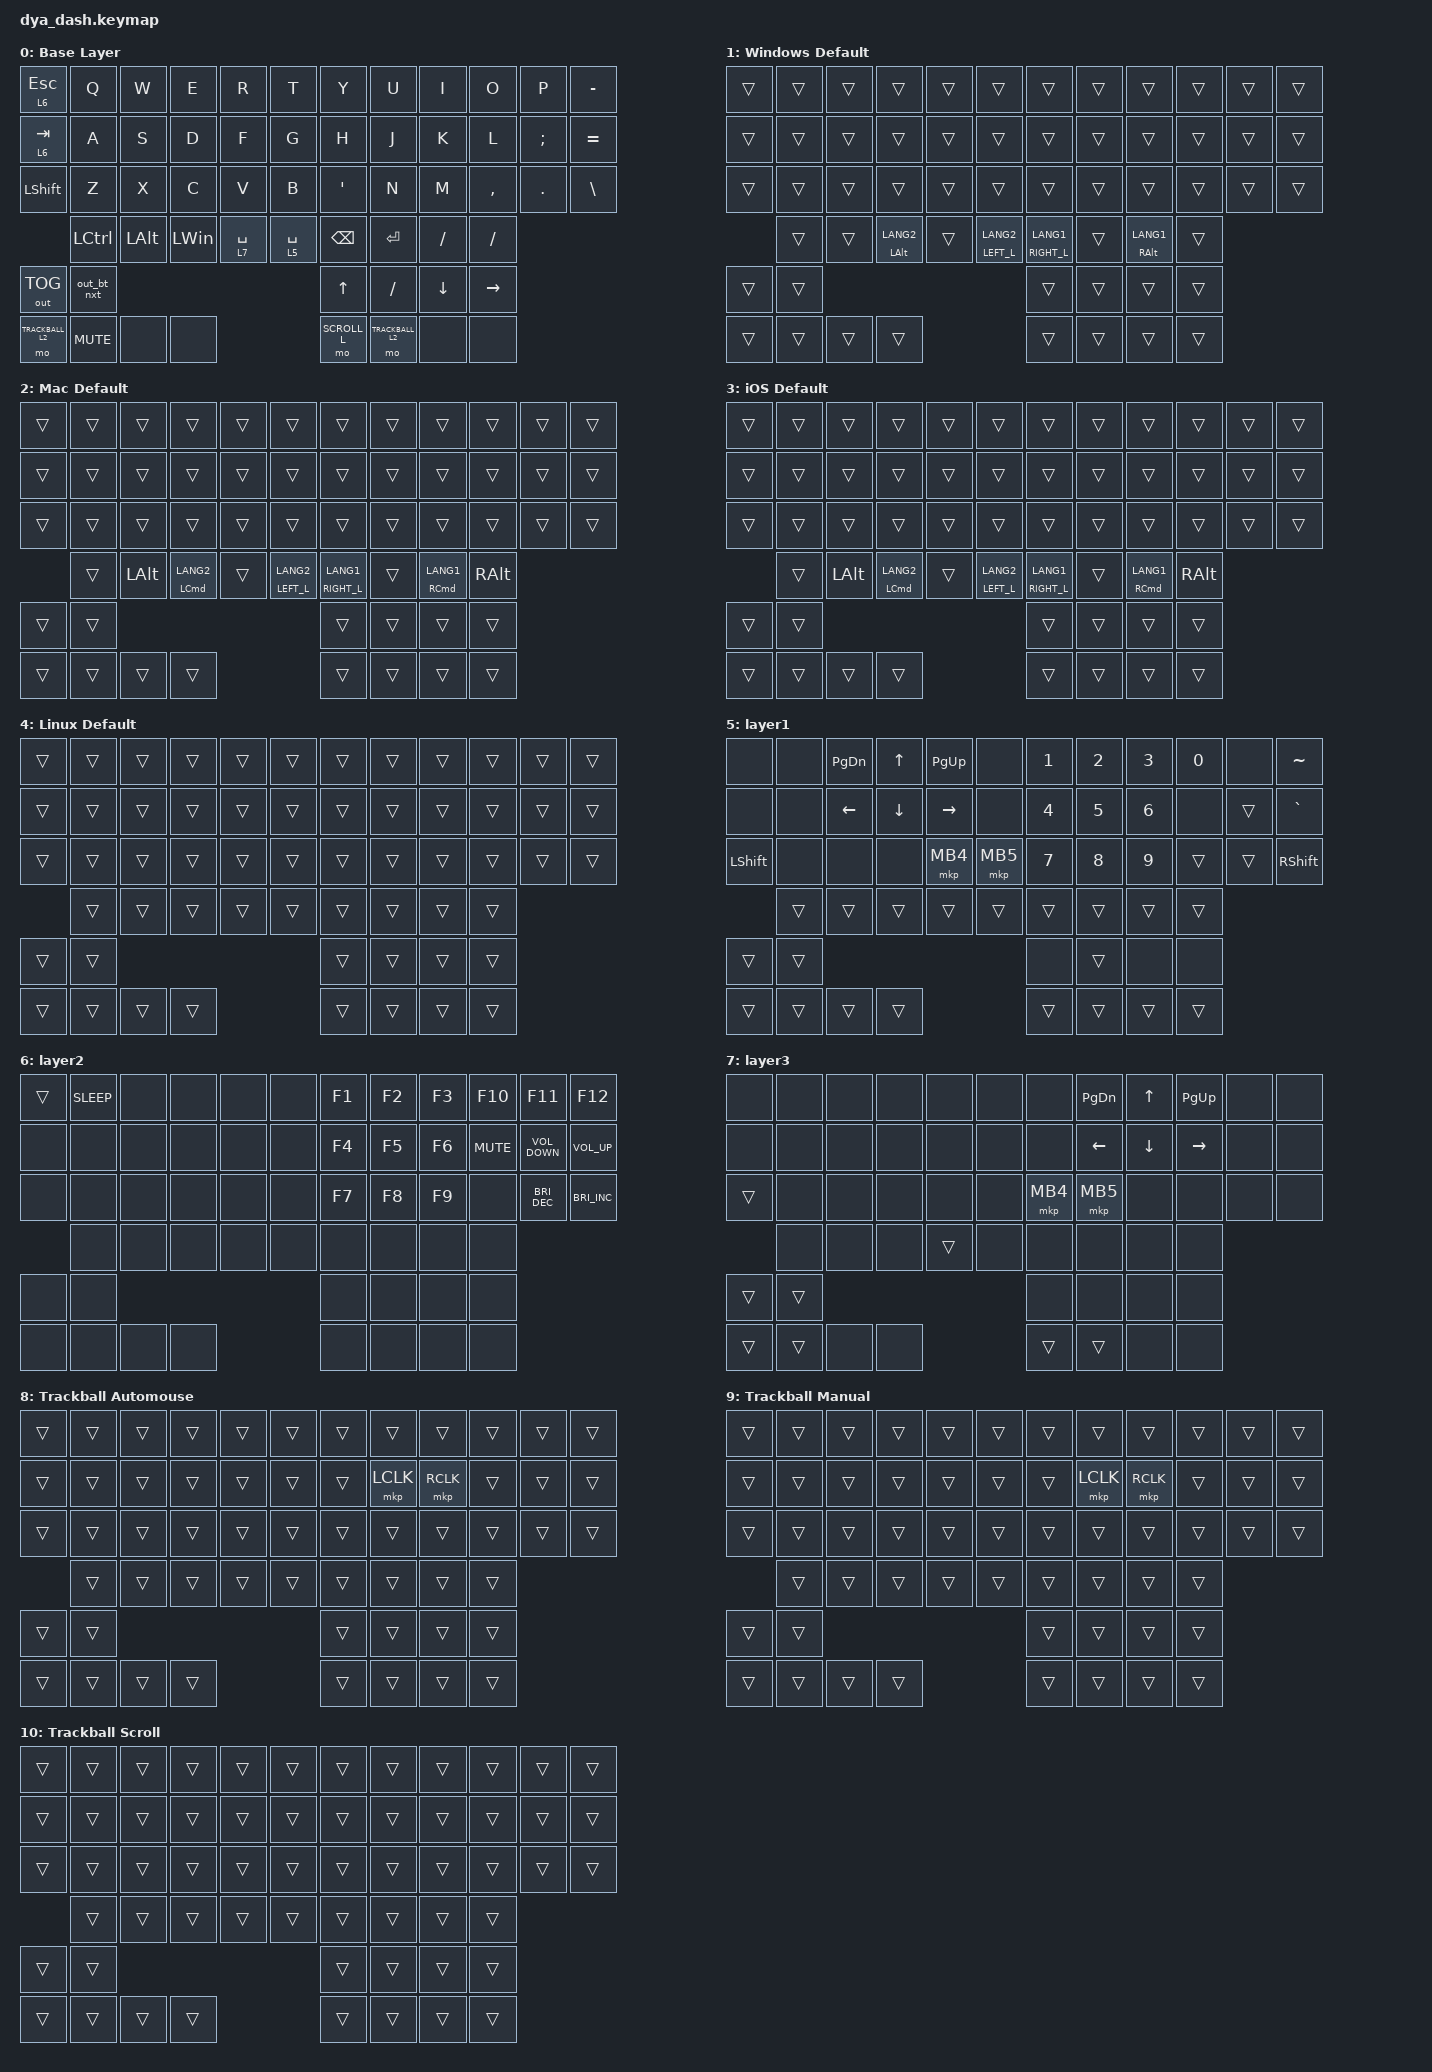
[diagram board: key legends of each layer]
#include <behaviors/mouse_move.dtsi>
#include <behaviors/animation_control.dtsi>
#include <behaviors/animation_trigger.dtsi>
#include <dt-bindings/zmk/mouse.h>
#include <dt-bindings/zmk_driver_animation/animation_control.h>
#include <dt-bindings/zmk_driver_animation/animation_trigger.h>
#include <dt-bindings/zmk_behavior_default_layer/default_layer.h>
#include <dt-bindings/zmk/input_transform.h>
#include <behaviors.dtsi>
#include <dt-bindings/zmk/bt.h>
#include <dt-bindings/zmk/keys.h>
#include <dt-bindings/zmk/outputs.h>
#include <dt-bindings/zmk/pointing.h>

// Layer definitions

#define DEFAULT_L 0
#define WINDOWS_L 1
#define MAC_L 2
#define IOS_L 3
#define LINUX_L 4
#define LEFT_L 5
#define RIGHT_L 6
#define CONFIG_L 7
#define TRACKBALL_L 8
#define TRACKBALL_L2 9
#define SCROLL_L 10
#define EXT1_L 11
#define EXT2_L 12
#define EXT3_L 13

&trackball_listener {
    input-processors = <
    // TRACKBALL_L layer is activated when trackball is used.
    // After 500ms of trackball inactivity, the layer is deactivated.
    &zip_temp_layer TRACKBALL_L 5000
    // Example: Adjust sensitivity of trackball multiply by 1 and divide by 60.
    // &zip_xy_scaler 6 10
    >;
};

&mkp_input_listener {
    input-processors = <
    &zip_temp_layer TRACKBALL_L 5000
    >;
};

&trackball_scroller {
    layers = <SCROLL_L>;

    //input-processors = <&zip_scroll_transform (INPUT_TRANSFORM_Y_INVERT)>;
    // Example: adjust sensitivity of scroll multiply by 1 and divide by 60.
    // input-processors = <&zip_xy_scaler 1 60 &zip_xy_to_scroll_mapper>;
};

&trackball_listener_l { input-processors = <&zip_temp_layer TRACKBALL_L 500>; };

&trackball_scroller_l { layers = <SCROLL_L>; };

&zip_temp_layer { excluded-positions = <19 20 24 36 53 54 55 56 57 58 59>; };

&trackball_r { cpi = <400>; };

&trackball_l { cpi = <600>; };

/ {
    behaviors {
        // ctrl+h as backspace

        hbackspace: h_or_ctrl_backspace {
            compatible = "zmk,behavior-mod-morph";
            #binding-cells = <0>;
            bindings = <&kp H>, <&kp BACKSPACE>;

            mods = <(MOD_LCTL)>;
        };

        // ctrl+j as enter

        jenter: j_or_ctrl_enter {
            compatible = "zmk,behavior-mod-morph";
            #binding-cells = <0>;
            bindings = <&kp J>, <&kp ENTER>;

            mods = <(MOD_LCTL)>;
        };
    };

    macros {
        // Disconnect from all once for reliable connection to selected profile.
        // ZMK automatically reconnects to current profile right after disconnection.

        out_bt_nxt: out_bt_nxt {
            compatible = "zmk,behavior-macro";
            #binding-cells = <0>;
            wait-ms = <50>;
            bindings = <&out OUT_BLE &bt BT_NXT &bt BT_DISC 0 &bt BT_DISC 1 &bt BT_DISC 2 &bt BT_DISC 3 &bt BT_DISC 4>;
        };

        // Change default layer for current profile to next layer

        dfnxt: dfnxt {
            compatible = "zmk,behavior-macro";
            #binding-cells = <0>;
            bindings = <&df DF_INC &animtrig ANM_TRG 2>;
        };
    };

    combos {
        compatible = "zmk,combos";

        // Right side's setting button shares input pin with arrow keys.
        // It works as a combo of two arrow keys.

        setting_r1 {
            timeout-ms = <10>;
            key-positions = <47 50>;
            bindings = <&kp C_VOL_DN>;
        };

        setting_r2 {
            timeout-ms = <10>;
            key-positions = <47 49>;
            bindings = <&kp C_VOL_UP>;
        };

        l_bracket {
            bindings = <&kp LEFT_BRACKET>;
            key-positions = <6 7>;
        };

        r_blacket {
            bindings = <&kp RBKT>;
            key-positions = <7 8>;
        };

        l_brace {
            bindings = <&kp LEFT_BRACE>;
            key-positions = <18 19>;
        };

        r_brace {
            bindings = <&kp RIGHT_BRACE>;
            key-positions = <19 20>;
        };

        l_paren {
            bindings = <&kp LEFT_PARENTHESIS>;
            key-positions = <31 32>;
        };

        r_paren {
            bindings = <&kp RIGHT_PARENTHESIS>;
            key-positions = <32 33>;
        };

        delete {
            bindings = <&kp DEL>;
            key-positions = <30 31>;
        };

        caps_word {
            bindings = <&caps_word>;
            key-positions = <8 9>;
        };

        lang1 {
            bindings = <&kp LANG1>;
            key-positions = <19 8>;
        };

        home {
            bindings = <&kp HOME>;
            key-positions = <1 2>;
        };

        end {
            bindings = <&kp END>;
            key-positions = <13 14>;
        };

        exclamation {
            bindings = <&kp EXCLAMATION>;
            key-positions = <2 3>;
        };

        at {
            bindings = <&kp AT_SIGN>;
            key-positions = <14 15>;
        };

        hash {
            bindings = <&kp HASH>;
            key-positions = <26 27>;
        };

        doller {
            bindings = <&kp DOLLAR>;
            key-positions = <3 4>;
        };

        percent {
            bindings = <&kp PERCENT>;
            key-positions = <15 16>;
        };

        caret {
            bindings = <&kp CARET>;
            key-positions = <27 28>;
        };

        ampersand {
            bindings = <&kp AMPERSAND>;
            key-positions = <4 5>;
        };

        asterisk {
            bindings = <&kp ASTERISK>;
            key-positions = <16 17>;
        };

        lang2 {
            bindings = <&kp LANG2>;
            key-positions = <16 3>;
        };

        lang1_2 {
            bindings = <&kp LANGUAGE_1>;
            key-positions = <16 19>;
        };

        lang2_2 {
            bindings = <&kp LANGUAGE_2>;
            key-positions = <13 22>;
        };
    };

    keymap {
        compatible = "zmk,keymap";

        // template {
        //     bindings = <
        //         &trans      &trans      &trans      &trans      &trans      &trans      /**/ &trans      &trans      &trans      &trans      &trans      &trans
        //         &trans      &trans      &trans      &trans      &trans      &trans      /**/ &trans      &trans      &trans      &trans      &trans      &trans
        //         &trans      &trans      &trans      &trans      &trans      &trans      /**/ &trans      &trans      &trans      &trans      &trans      &trans
        //                     &trans      &trans      &trans      &trans      &trans      /**/ &trans      &trans      &trans      &trans
        //
        //         &trans      &trans                                                      /**/ &trans      &trans      &trans      &trans
        //         &trans      &trans      &trans      &trans                              /**/ &trans      &trans      &trans      &trans
        //     >;
        // };

        default_layer {
            display-name = "Base Layer";

            // --------------------------------------------------------------------------------------------------------------------------------------------------
            // |   TAB   |    Q    |    W    |    E    |    R    |    T       |            |    Y        |    U    |    I     |    O    |    P    |    [    |
            // |   CTRL  |    A    |    S    |    D    |    F    |    G       |            |    H        |    J    |    K     |    L    |    ;    |    '    |
            // |  SHIFT  |    Z    |    X    |    C    |    V    |    B       |            |    B        |    N    |    M     |    ,    |    .    |    /    |
            //           |  CONFIG |   WIN   |   ALT   |  SPACE  | LEFT_LAYER |            | RIGHT_LAYER |  SPACE  |   ALT    |   WIN   |
            // --------------------------------------------------------------------------------------------------------------------------------------------------
            // | BLE     |  USB    |                                                       |  left   | up      | down    | right   |
            // | touch1  | touch2  | touch3  | touch 4 |                                   | touch1  | touch2  | touch3  | touch 4 |

            bindings = <
&lt 6 ESCAPE      &kp Q             &kp W         &kp E         &kp R        &kp T        &kp Y             &kp U             &kp I      &kp O      &kp P     &kp MINUS
&lt 6 TAB         &kp A             &kp S         &kp D         &kp F        &kp G        &kp H             &kp J             &kp K      &kp L      &kp SEMI  &kp EQUAL
&kp LSHIFT        &kp Z             &kp X         &kp C         &kp V        &kp B        &kp SINGLE_QUOTE  &kp N             &kp M      &kp COMMA  &kp DOT   &kp BACKSLASH
                  &kp LEFT_CONTROL  &kp LEFT_ALT  &kp LEFT_WIN  &lt 7 SPACE  &lt 5 SPACE  &kp BACKSPACE     &kp ENTER         &kp SLASH  &kp SLASH
&out OUT_TOG      &out_bt_nxt                                                             &kp UP            &kp SLASH         &kp DOWN   &kp RIGHT
&mo TRACKBALL_L2  &kp K_MUTE        &none         &none                                   &mo SCROLL_L      &mo TRACKBALL_L2  &none      &none
            >;
        };

        windows_default_layer {
            display-name = "Windows Default";
            bindings = <
&trans  &trans  &trans  &trans          &trans  &trans            &trans             &trans  &trans          &trans  &trans  &trans
&trans  &trans  &trans  &trans          &trans  &trans            &trans             &trans  &trans          &trans  &trans  &trans
&trans  &trans  &trans  &trans          &trans  &trans            &trans             &trans  &trans          &trans  &trans  &trans
        &trans  &trans  &mt LALT LANG2  &trans  &lt LEFT_L LANG2  &lt RIGHT_L LANG1  &trans  &mt RALT LANG1  &trans
&trans  &trans                                                    &trans             &trans  &trans          &trans
&trans  &trans  &trans  &trans                                    &trans             &trans  &trans          &trans
            >;
        };

        mac_default_layer {
            display-name = "Mac Default";
            bindings = <
&trans  &trans  &trans    &trans          &trans  &trans            &trans             &trans  &trans          &trans    &trans  &trans
&trans  &trans  &trans    &trans          &trans  &trans            &trans             &trans  &trans          &trans    &trans  &trans
&trans  &trans  &trans    &trans          &trans  &trans            &trans             &trans  &trans          &trans    &trans  &trans
        &trans  &kp LALT  &mt LCMD LANG2  &trans  &lt LEFT_L LANG2  &lt RIGHT_L LANG1  &trans  &mt RCMD LANG1  &kp RALT
&trans  &trans                                                      &trans             &trans  &trans          &trans
&trans  &trans  &trans    &trans                                    &trans             &trans  &trans          &trans
            >;
        };

        ios_default_layer {
            display-name = "iOS Default";
            bindings = <
&trans  &trans  &trans    &trans          &trans  &trans            &trans             &trans  &trans          &trans    &trans  &trans
&trans  &trans  &trans    &trans          &trans  &trans            &trans             &trans  &trans          &trans    &trans  &trans
&trans  &trans  &trans    &trans          &trans  &trans            &trans             &trans  &trans          &trans    &trans  &trans
        &trans  &kp LALT  &mt LCMD LANG2  &trans  &lt LEFT_L LANG2  &lt RIGHT_L LANG1  &trans  &mt RCMD LANG1  &kp RALT
&trans  &trans                                                      &trans             &trans  &trans          &trans
&trans  &trans  &trans    &trans                                    &trans             &trans  &trans          &trans
            >;
        };

        linux_default_layer {
            display-name = "Linux Default";
            bindings = <
&trans  &trans  &trans  &trans  &trans  &trans  &trans  &trans  &trans  &trans  &trans  &trans
&trans  &trans  &trans  &trans  &trans  &trans  &trans  &trans  &trans  &trans  &trans  &trans
&trans  &trans  &trans  &trans  &trans  &trans  &trans  &trans  &trans  &trans  &trans  &trans
        &trans  &trans  &trans  &trans  &trans  &trans  &trans  &trans  &trans
&trans  &trans                                  &trans  &trans  &trans  &trans
&trans  &trans  &trans  &trans                  &trans  &trans  &trans  &trans
            >;
        };

        layer1 {
            display-name = "layer1";

            // --------------------------------------------------------------------------------------------------------------------------------------------------------------------
            // |  ESC    |  !  |  @  |  #       |  $  |  %       |                           |  ^  |  &      |  *      |  (  |  )  |  ]  |
            // |         |  1  |  2  |  3       |  4  |  5       |                           |  6  |  7      |  8      |  9  |  0  |  \  |
            // |         |     |     |          |     |          |                           |  `  |  -      |  =      |  [  |  ]  |SHIFT|
            //           |     |     |          |     |          |                           |     |         |         |     |

            bindings = <
&none           &none   &kp PAGE_DOWN  &kp UP    &kp PAGE_UP  &none     &kp NUMBER_1  &kp NUMBER_2  &kp NUMBER_3  &kp NUMBER_0  &none   &kp TILDE
&none           &none   &kp LEFT       &kp DOWN  &kp RIGHT    &none     &kp NUMBER_4  &kp NUMBER_5  &kp NUMBER_6  &none         &trans  &kp GRAVE
&kp LEFT_SHIFT  &none   &none          &none     &mkp MB4     &mkp MB5  &kp NUMBER_7  &kp NUMBER_8  &kp NUMBER_9  &trans        &trans  &kp RSHIFT
                &trans  &trans         &trans    &trans       &trans    &trans        &trans        &trans        &trans
&trans          &trans                                                  &none         &trans        &none         &none
&trans          &trans  &trans         &trans                           &trans        &trans        &trans        &trans
            >;
        };

        layer2 {
            display-name = "layer2";
            bindings = <
&trans  &kp K_SLEEP  &none  &none  &none  &none  &kp F1  &kp F2  &kp F3  &kp F10     &kp F11            &kp F12
&none   &none        &none  &none  &none  &none  &kp F4  &kp F5  &kp F6  &kp C_MUTE  &kp C_VOLUME_DOWN  &kp C_VOLUME_UP
&none   &none        &none  &none  &none  &none  &kp F7  &kp F8  &kp F9  &none       &kp C_BRI_DEC      &kp C_BRIGHTNESS_INC
        &none        &none  &none  &none  &none  &none   &none   &none   &none
&none   &none                                    &none   &none   &none   &none
&none   &none        &none  &none                &none   &none   &none   &none
            >;
        };

        layer3 {
            display-name = "layer3";
            bindings = <
&none   &none   &none  &none  &none   &none  &none     &kp PAGE_DOWN  &kp UP    &kp PAGE_UP  &none  &none
&none   &none   &none  &none  &none   &none  &none     &kp LEFT       &kp DOWN  &kp RIGHT    &none  &none
&trans  &none   &none  &none  &none   &none  &mkp MB4  &mkp MB5       &none     &none        &none  &none
        &none   &none  &none  &trans  &none  &none     &none          &none     &none
&trans  &trans                               &none     &none          &none     &none
&trans  &trans  &none  &none                 &trans    &trans         &none     &none
            >;
        };

        trackball_layer {
            display-name = "Trackball Automouse";
            bindings = <
&trans  &trans  &trans  &trans  &trans  &trans  &trans  &trans     &trans     &trans  &trans  &trans
&trans  &trans  &trans  &trans  &trans  &trans  &trans  &mkp LCLK  &mkp RCLK  &trans  &trans  &trans
&trans  &trans  &trans  &trans  &trans  &trans  &trans  &trans     &trans     &trans  &trans  &trans
        &trans  &trans  &trans  &trans  &trans  &trans  &trans     &trans     &trans
&trans  &trans                                  &trans  &trans     &trans     &trans
&trans  &trans  &trans  &trans                  &trans  &trans     &trans     &trans
            >;
        };

        trackball_layer2 {
            display-name = "Trackball Manual";
            bindings = <
&trans  &trans  &trans  &trans  &trans  &trans  &trans  &trans     &trans     &trans  &trans  &trans
&trans  &trans  &trans  &trans  &trans  &trans  &trans  &mkp LCLK  &mkp RCLK  &trans  &trans  &trans
&trans  &trans  &trans  &trans  &trans  &trans  &trans  &trans     &trans     &trans  &trans  &trans
        &trans  &trans  &trans  &trans  &trans  &trans  &trans     &trans     &trans
&trans  &trans                                  &trans  &trans     &trans     &trans
&trans  &trans  &trans  &trans                  &trans  &trans     &trans     &trans
            >;
        };

        scroll_layer {
            display-name = "Trackball Scroll";
            bindings = <
&trans  &trans  &trans  &trans  &trans  &trans  &trans  &trans  &trans  &trans  &trans  &trans
&trans  &trans  &trans  &trans  &trans  &trans  &trans  &trans  &trans  &trans  &trans  &trans
&trans  &trans  &trans  &trans  &trans  &trans  &trans  &trans  &trans  &trans  &trans  &trans
        &trans  &trans  &trans  &trans  &trans  &trans  &trans  &trans  &trans
&trans  &trans                                  &trans  &trans  &trans  &trans
&trans  &trans  &trans  &trans                  &trans  &trans  &trans  &trans
            >;
        };

        extra1 { status = "reserved"; };

        extra2 { status = "reserved"; };

        extra3 { status = "reserved"; };
    };
};
